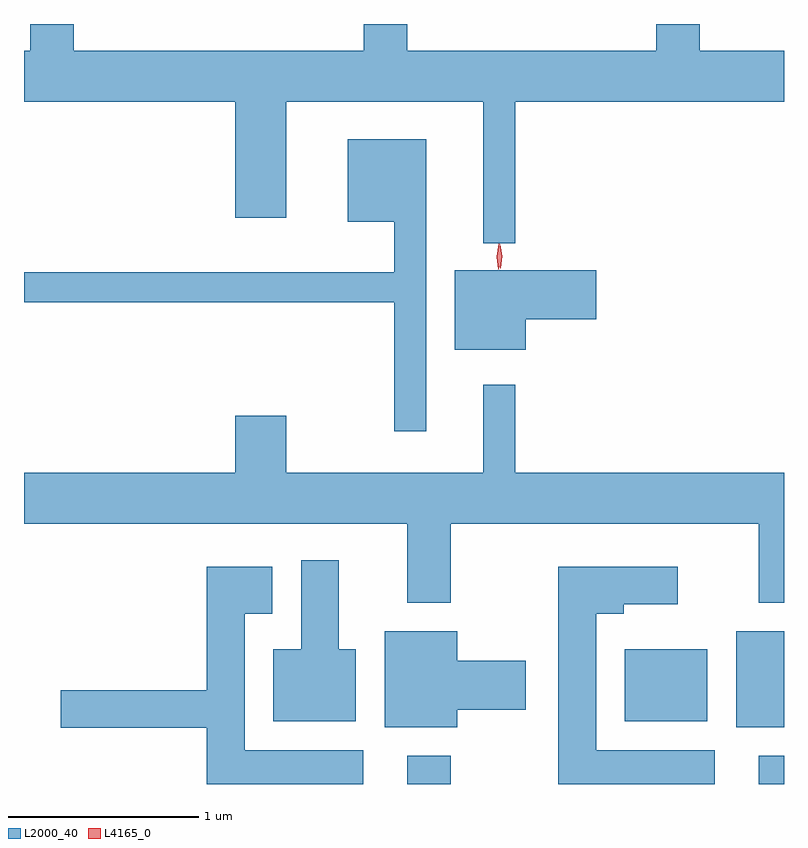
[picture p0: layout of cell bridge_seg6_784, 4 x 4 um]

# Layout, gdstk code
import gdstk
lib = gdstk.Library(unit=1e-6, precision=1e-09)
def R(c, l, rs):  # rectangles x0, y0, x1, y1
    for r in rs: c.add(gdstk.rectangle(r[:2], r[2:], *l))
def P(c, l, *ps):  # polygons
    for p in ps: c.add(gdstk.Polygon(p, *l))
L2000_40 = (2000, 40)
L4165_0 = (4165, 0)

bridge_seg6_784 = lib.new_cell('bridge_seg6_784')
R(bridge_seg6_784, L2000_40, [(575.621,1595.286,575.849,1595.434), (577.471,1595.286,577.603,1595.434), (577.351,1595.586,577.603,1596.089), (576.766,1595.616,577.199,1595.994)])
P(bridge_seg6_784, L2000_40, [(576.189,1598.876),(577.603,1598.876),(577.603,1599.144),(577.159,1599.144),(577.159,1599.286),(576.931,1599.286),(576.931,1599.144),(575.619,1599.144),(575.619,1599.286),(575.391,1599.286),(575.391,1599.144),(573.864,1599.144),(573.864,1599.286),(573.636,1599.286),(573.636,1599.144),(573.603,1599.144),(573.603,1598.876),(574.716,1598.876),(574.716,1598.266),(574.984,1598.266),(574.984,1598.876),(576.021,1598.876),(576.021,1598.133),(576.189,1598.133)],
  [(575.719,1598.679),(575.306,1598.679),(575.306,1598.246),(575.551,1598.246),(575.551,1597.979),(573.603,1597.979),(573.603,1597.821),(575.551,1597.821),(575.551,1597.143),(575.719,1597.143)],
  [(576.244,1597.731),(576.614,1597.731),(576.614,1597.989),(575.871,1597.989),(575.871,1597.571),(576.244,1597.571)],
  [(575.849,1596.656),(577.471,1596.656),(577.471,1596.241),(577.603,1596.241),(577.603,1596.924),(576.189,1596.924),(576.189,1597.388),(576.021,1597.388),(576.021,1596.924),(574.984,1596.924),(574.984,1597.224),(574.716,1597.224),(574.716,1596.924),(573.603,1596.924),(573.603,1596.656),(575.621,1596.656),(575.621,1596.241),(575.849,1596.241)],
  [(575.349,1595.994),(575.259,1595.994),(575.259,1596.464),(575.061,1596.464),(575.061,1595.994),(574.916,1595.994),(574.916,1595.616),(575.349,1595.616)],
  [(577.239,1595.464),(576.614,1595.464),(576.614,1596.181),(576.759,1596.181),(576.759,1596.231),(577.044,1596.231),(577.044,1596.429),(576.416,1596.429),(576.416,1595.286),(577.239,1595.286)],
  [(575.389,1595.464),(574.764,1595.464),(574.764,1596.181),(574.909,1596.181),(574.909,1596.429),(574.566,1596.429),(574.566,1595.779),(573.796,1595.779),(573.796,1595.581),(574.566,1595.581),(574.566,1595.286),(575.389,1595.286)],
  [(575.884,1595.676),(576.244,1595.676),(576.244,1595.934),(575.884,1595.934),(575.884,1596.089),(575.501,1596.089),(575.501,1595.586),(575.884,1595.586)])
P(bridge_seg6_784, L4165_0, [(576.11,1598),(576.11,1598),(576.1,1598.063),(576.11,1598.126),(576.11,1598.127),(576.11,1598.126),(576.12,1598.063),(576.111,1598)],
  [(576.1,1597.994),(576.091,1598.062),(576.102,1598.13),(576.102,1598.13),(576.103,1598.13),(576.111,1598.062),(576.101,1597.994),(576.101,1597.994)])

lib.write_gds('bridge_seg6_784.gds')
